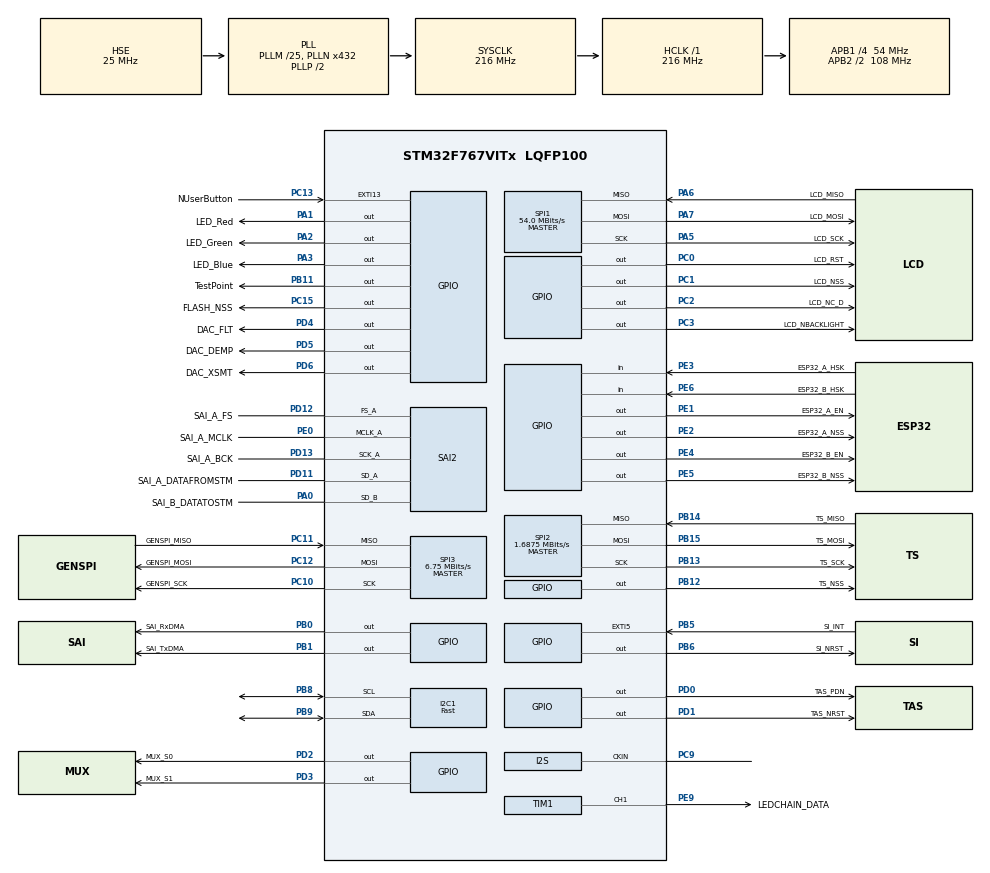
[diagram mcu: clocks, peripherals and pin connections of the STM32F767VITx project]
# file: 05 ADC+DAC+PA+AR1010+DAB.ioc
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CORTEX_M7.CPU_DCache=Enabled
CORTEX_M7.CPU_ICache=Enabled
Dma.I2C1_RX.1.Direction=DMA_PERIPH_TO_MEMORY
Dma.I2C1_RX.1.FIFOMode=DMA_FIFOMODE_DISABLE
Dma.I2C1_RX.1.Instance=DMA1_Stream5
Dma.I2C1_RX.1.MemDataAlignment=DMA_MDATAALIGN_BYTE
Dma.I2C1_RX.1.MemInc=DMA_MINC_ENABLE
Dma.I2C1_RX.1.Mode=DMA_NORMAL
Dma.I2C1_RX.1.PeriphDataAlignment=DMA_PDATAALIGN_BYTE
Dma.I2C1_RX.1.PeriphInc=DMA_PINC_DISABLE
Dma.I2C1_RX.1.Priority=DMA_PRIORITY_HIGH
Dma.I2C1_TX.0.Direction=DMA_MEMORY_TO_PERIPH
Dma.I2C1_TX.0.FIFOMode=DMA_FIFOMODE_DISABLE
Dma.I2C1_TX.0.Instance=DMA1_Stream6
Dma.I2C1_TX.0.MemDataAlignment=DMA_MDATAALIGN_BYTE
Dma.I2C1_TX.0.MemInc=DMA_MINC_ENABLE
Dma.I2C1_TX.0.Mode=DMA_NORMAL
Dma.I2C1_TX.0.PeriphDataAlignment=DMA_PDATAALIGN_BYTE
Dma.I2C1_TX.0.PeriphInc=DMA_PINC_DISABLE
Dma.I2C1_TX.0.Priority=DMA_PRIORITY_HIGH
Dma.Request0=I2C1_TX
Dma.Request1=I2C1_RX
Dma.Request2=SAI2_A
Dma.Request3=SAI2_B
Dma.Request4=SPI1_TX
Dma.Request5=TIM1_CH1
Dma.SAI2_A.2.Direction=DMA_MEMORY_TO_PERIPH
Dma.SAI2_A.2.FIFOMode=DMA_FIFOMODE_DISABLE
Dma.SAI2_A.2.Instance=DMA2_Stream2
Dma.SAI2_A.2.MemDataAlignment=DMA_MDATAALIGN_WORD
Dma.SAI2_A.2.MemInc=DMA_MINC_ENABLE
Dma.SAI2_A.2.Mode=DMA_CIRCULAR
Dma.SAI2_A.2.PeriphDataAlignment=DMA_PDATAALIGN_WORD
Dma.SAI2_A.2.PeriphInc=DMA_PINC_DISABLE
Dma.SAI2_A.2.Priority=DMA_PRIORITY_VERY_HIGH
Dma.SAI2_B.3.Direction=DMA_PERIPH_TO_MEMORY
Dma.SAI2_B.3.FIFOMode=DMA_FIFOMODE_DISABLE
Dma.SAI2_B.3.Instance=DMA2_Stream1
Dma.SAI2_B.3.MemDataAlignment=DMA_MDATAALIGN_WORD
Dma.SAI2_B.3.MemInc=DMA_MINC_ENABLE
Dma.SAI2_B.3.Mode=DMA_CIRCULAR
Dma.SAI2_B.3.PeriphDataAlignment=DMA_PDATAALIGN_WORD
Dma.SAI2_B.3.PeriphInc=DMA_PINC_DISABLE
Dma.SAI2_B.3.Priority=DMA_PRIORITY_VERY_HIGH
Dma.SPI1_TX.4.Direction=DMA_MEMORY_TO_PERIPH
Dma.SPI1_TX.4.FIFOMode=DMA_FIFOMODE_ENABLE
Dma.SPI1_TX.4.FIFOThreshold=DMA_FIFO_THRESHOLD_FULL
Dma.SPI1_TX.4.Instance=DMA2_Stream5
Dma.SPI1_TX.4.MemBurst=DMA_MBURST_SINGLE
Dma.SPI1_TX.4.MemDataAlignment=DMA_MDATAALIGN_BYTE
Dma.SPI1_TX.4.MemInc=DMA_MINC_ENABLE
Dma.SPI1_TX.4.Mode=DMA_NORMAL
Dma.SPI1_TX.4.PeriphBurst=DMA_PBURST_SINGLE
Dma.SPI1_TX.4.PeriphDataAlignment=DMA_PDATAALIGN_BYTE
Dma.SPI1_TX.4.PeriphInc=DMA_PINC_DISABLE
Dma.SPI1_TX.4.Priority=DMA_PRIORITY_MEDIUM
Dma.TIM1_CH1.5.Direction=DMA_MEMORY_TO_PERIPH
Dma.TIM1_CH1.5.FIFOMode=DMA_FIFOMODE_ENABLE
Dma.TIM1_CH1.5.FIFOThreshold=DMA_FIFO_THRESHOLD_FULL
Dma.TIM1_CH1.5.Instance=DMA2_Stream3
Dma.TIM1_CH1.5.MemBurst=DMA_MBURST_SINGLE
Dma.TIM1_CH1.5.MemDataAlignment=DMA_MDATAALIGN_HALFWORD
Dma.TIM1_CH1.5.MemInc=DMA_MINC_ENABLE
Dma.TIM1_CH1.5.Mode=DMA_NORMAL
Dma.TIM1_CH1.5.PeriphBurst=DMA_PBURST_SINGLE
Dma.TIM1_CH1.5.PeriphDataAlignment=DMA_PDATAALIGN_HALFWORD
Dma.TIM1_CH1.5.PeriphInc=DMA_PINC_DISABLE
Dma.TIM1_CH1.5.Priority=DMA_PRIORITY_MEDIUM
I2C1.I2C_Speed_Mode=I2C_Fast
I2C1.Timing=0x6000030D
Mcu.Family=STM32F7
Mcu.Name=STM32F767VITx
Mcu.Package=LQFP100
NVIC.DMA1_Stream5_IRQn=true\:0\:0\:false\:false\:true\:false
NVIC.DMA1_Stream6_IRQn=true\:0\:0\:false\:false\:true\:false
NVIC.DMA2_Stream1_IRQn=true\:0\:0\:false\:false\:true\:false
NVIC.DMA2_Stream2_IRQn=true\:0\:0\:false\:false\:true\:false
NVIC.DMA2_Stream3_IRQn=true\:0\:0\:false\:false\:true\:false
NVIC.DMA2_Stream5_IRQn=true\:0\:0\:false\:false\:true\:false
NVIC.EXTI15_10_IRQn=true\:0\:0\:false\:false\:true\:true
NVIC.EXTI9_5_IRQn=true\:0\:0\:false\:false\:true\:true
NVIC.I2C1_ER_IRQn=true\:0\:0\:false\:false\:true\:true
NVIC.I2C1_EV_IRQn=true\:0\:0\:false\:false\:true\:true
NVIC.PriorityGroup=NVIC_PRIORITYGROUP_4
PA0/WKUP.GPIO_Label=SAI_B_DATATOSTM
PA0/WKUP.Mode=SAI_B_SyncSlave
PA0/WKUP.Signal=SAI2_SD_B
PA1.GPIO_Label=LED_Red
PA1.Signal=GPIO_Output
PA13.GPIO_Label=SWDIO
PA13.Mode=Serial_Wire
PA13.Signal=SYS_JTMS-SWDIO
PA14.GPIO_Label=SWCLK
PA14.Mode=Serial_Wire
PA14.Signal=SYS_JTCK-SWCLK
PA2.GPIO_Label=LED_Green
PA2.Signal=GPIO_Output
PA3.GPIO_Label=LED_Blue
PA3.Signal=GPIO_Output
PA5.GPIO_Label=LCD_SCK
PA5.Mode=Full_Duplex_Master
PA5.Signal=SPI1_SCK
PA6.GPIO_Label=LCD_MISO
PA6.Mode=Full_Duplex_Master
PA6.Signal=SPI1_MISO
PA7.GPIO_Label=LCD_MOSI
PA7.Mode=Full_Duplex_Master
PA7.Signal=SPI1_MOSI
PB0.GPIO_Label=SAI_RxDMA
PB0.GPIO_Speed=GPIO_SPEED_FREQ_HIGH
PB0.Signal=GPIO_Output
PB1.GPIO_Label=SAI_TxDMA
PB1.GPIO_Speed=GPIO_SPEED_FREQ_HIGH
PB1.Signal=GPIO_Output
PB11.GPIO_Label=TestPoint
PB11.GPIO_Speed=GPIO_SPEED_FREQ_HIGH
PB11.Signal=GPIO_Output
PB12.GPIO_Label=TS_NSS
PB12.Signal=GPIO_Output
PB13.GPIO_Label=TS_SCK
PB13.Mode=Full_Duplex_Master
PB13.Signal=SPI2_SCK
PB14.GPIO_Label=TS_MISO
PB14.Mode=Full_Duplex_Master
PB14.Signal=SPI2_MISO
PB15.GPIO_Label=TS_MOSI
PB15.Mode=Full_Duplex_Master
PB15.Signal=SPI2_MOSI
PB5.GPIO_Label=SI_INT
PB5.GPIO_ModeDefaultEXTI=GPIO_MODE_IT_FALLING
PB5.Signal=GPXTI5
PB6.GPIO_Label=SI_NRST
PB6.Signal=GPIO_Output
PB8.Mode=I2C
PB8.Signal=I2C1_SCL
PB9.Mode=I2C
PB9.Signal=I2C1_SDA
PC0.GPIO_Label=LCD_RST
PC0.Signal=GPIO_Output
PC1.GPIO_Label=LCD_NSS
PC1.Signal=GPIO_Output
PC10.GPIO_Label=GENSPI_SCK
PC10.Mode=Full_Duplex_Master
PC10.Signal=SPI3_SCK
PC11.GPIO_Label=GENSPI_MISO
PC11.Mode=Full_Duplex_Master
PC11.Signal=SPI3_MISO
PC12.GPIO_Label=GENSPI_MOSI
PC12.Mode=Full_Duplex_Master
PC12.Signal=SPI3_MOSI
PC13.GPIO_Label=NUserButton
PC13.GPIO_ModeDefaultEXTI=GPIO_MODE_IT_FALLING
PC13.GPIO_PuPd=GPIO_PULLUP
PC13.Signal=GPXTI13
PC15/OSC32_OUT.GPIO_Label=FLASH_NSS
PC15/OSC32_OUT.PinState=GPIO_PIN_SET
PC15/OSC32_OUT.Signal=GPIO_Output
PC2.GPIO_Label=LCD_NC_D
PC2.Signal=GPIO_Output
PC3.GPIO_Label=LCD_NBACKLIGHT
PC3.Signal=GPIO_Output
PC9.Mode=Audio_ClockIn
PC9.Signal=I2S_CKIN
PD0.GPIO_Label=TAS_PDN
PD0.Signal=GPIO_Output
PD1.GPIO_Label=TAS_NRST
PD1.Signal=GPIO_Output
PD11.GPIO_Label=SAI_A_DATAFROMSTM
PD11.Mode=SAI_A_MasterWithClock
PD11.Signal=SAI2_SD_A
PD12.GPIO_Label=SAI_A_FS
PD12.Mode=SAI_A_MasterWithClock
PD12.Signal=SAI2_FS_A
PD13.GPIO_Label=SAI_A_BCK
PD13.Mode=SAI_A_MasterWithClock
PD13.Signal=SAI2_SCK_A
PD2.GPIO_Label=MUX_S0
PD2.Signal=GPIO_Output
PD3.GPIO_Label=MUX_S1
PD3.Signal=GPIO_Output
PD4.GPIO_Label=DAC_FLT
PD4.Signal=GPIO_Output
PD5.GPIO_Label=DAC_DEMP
PD5.Signal=GPIO_Output
PD6.GPIO_Label=DAC_XSMT
PD6.Signal=GPIO_Output
PE0.GPIO_Label=SAI_A_MCLK
PE0.Mode=SAI_A_MasterWithClock
PE0.Signal=SAI2_MCLK_A
PE1.GPIO_Label=ESP32_A_EN
PE1.GPIO_Speed=GPIO_SPEED_FREQ_LOW
PE1.PinState=GPIO_PIN_RESET
PE1.Signal=GPIO_Output
PE2.GPIO_Label=ESP32_A_NSS
PE2.GPIO_Speed=GPIO_SPEED_FREQ_HIGH
PE2.PinState=GPIO_PIN_SET
PE2.Signal=GPIO_Output
PE3.GPIO_Label=ESP32_A_HSK
PE3.Signal=GPIO_Input
PE4.GPIO_Label=ESP32_B_EN
PE4.GPIO_Speed=GPIO_SPEED_FREQ_LOW
PE4.PinState=GPIO_PIN_RESET
PE4.Signal=GPIO_Output
PE5.GPIO_Label=ESP32_B_NSS
PE5.GPIO_Speed=GPIO_SPEED_FREQ_HIGH
PE5.PinState=GPIO_PIN_SET
PE5.Signal=GPIO_Output
PE6.GPIO_Label=ESP32_B_HSK
PE6.Signal=GPIO_Input
PE9.GPIO_Label=LEDCHAIN_DATA
PE9.GPIO_Speed=GPIO_SPEED_FREQ_HIGH
PE9.Signal=S_TIM1_CH1
PH0/OSC_IN.GPIO_Label=MCU_CLK_IN
PH0/OSC_IN.Mode=HSE-External-Clock-Source
PH0/OSC_IN.Signal=RCC_OSC_IN
PH1/OSC_OUT.Mode=HSE-External-Clock-Source
PH1/OSC_OUT.Signal=RCC_OSC_OUT
ProjectManager.HeapSize=0x2000
ProjectManager.StackSize=0x4000
ProjectManager.TargetToolchain=TrueSTUDIO
RCC.AHBFreq_Value=216000000
RCC.APB1CLKDivider=RCC_HCLK_DIV4
RCC.APB1Freq_Value=54000000
RCC.APB1TimFreq_Value=108000000
RCC.APB2CLKDivider=RCC_HCLK_DIV2
RCC.APB2Freq_Value=108000000
RCC.APB2TimFreq_Value=216000000
RCC.CortexFreq_Value=216000000
RCC.EXTERNAL_CLOCK_VALUE=24576000
RCC.HCLKFreq_Value=216000000
RCC.HSE_VALUE=25000000
RCC.HSI_VALUE=16000000
RCC.LSE_VALUE=32768
RCC.PLLI2SN=256
RCC.PLLM=25
RCC.PLLN=432
RCC.PLLSAIQ=8
RCC.PLLSourceVirtual=RCC_PLLSOURCE_HSE
RCC.SAI2CLockSelection=RCC_SAI2CLKSOURCE_PIN
RCC.SYSCLKFreq_VALUE=216000000
RCC.SYSCLKSource=RCC_SYSCLKSOURCE_PLLCLK
RCC.USBFreq_Value=216000000
RCC.VCOOutputFreq_Value=432000000
SAI2.AudioFrequency-SAI_A_MasterWithClock=SAI_AUDIO_FREQUENCY_48K
SAI2.BasicDataSize-SAI_A_MasterWithClock=SAI_PROTOCOL_DATASIZE_24BIT
SAI2.BasicDataSize-SAI_B_SyncSlave=SAI_PROTOCOL_DATASIZE_24BIT
SAI2.ErrorAudioFreq-SAI_A_MasterWithClock=0.0 %
SAI2.InitProtocol-SAI_A_MasterWithClock=Enable
SAI2.InitProtocol-SAI_B_SyncSlave=Enable
SAI2.Instance-SAI_A_MasterWithClock=SAI$Index_Block_A
SAI2.Instance-SAI_B_SyncSlave=SAI$Index_Block_B
SAI2.MClockEnable-SAI_A_MasterWithClock=SAI_MASTERCLOCK_ENABLE
SAI2.OutputDrive-SAI_A_MasterWithClock=SAI_OUTPUTDRIVE_DISABLE
SAI2.RealAudioFreq-SAI_A_MasterWithClock=48.0 KHz
SAI2.Synchro-SAI_A_MasterWithClock=SAI_ASYNCHRONOUS
SAI2.Synchro-SAI_B_SyncSlave=SAI_SYNCHRONOUS
SAI2.SynchroExt-SAI_A_MasterWithClock=SAI_SYNCEXT_DISABLE
SAI2.VirtualMode-SAI_A_MasterWithClock=VM_MASTER
SAI2.VirtualMode-SAI_B_SyncSlave=VM_SLAVE
SAI2.VirtualProtocol-SAI_A_BASIC=VM_BASIC_PROTOCOL
SAI2.VirtualProtocol-SAI_B_BASIC=VM_BASIC_PROTOCOL
SH.S_TIM1_CH1.0=TIM1_CH1,PWM Generation1 CH1
SPI1.BaudRatePrescaler=SPI_BAUDRATEPRESCALER_2
SPI1.CalculateBaudRate=54.0 MBits/s
SPI1.DataSize=SPI_DATASIZE_8BIT
SPI1.Direction=SPI_DIRECTION_2LINES
SPI1.Mode=SPI_MODE_MASTER
SPI1.VirtualType=VM_MASTER
SPI2.BaudRatePrescaler=SPI_BAUDRATEPRESCALER_32
SPI2.CalculateBaudRate=1.6875 MBits/s
SPI2.DataSize=SPI_DATASIZE_8BIT
SPI2.Direction=SPI_DIRECTION_2LINES
SPI2.Mode=SPI_MODE_MASTER
SPI2.VirtualType=VM_MASTER
SPI3.BaudRatePrescaler=SPI_BAUDRATEPRESCALER_8
SPI3.CalculateBaudRate=6.75 MBits/s
SPI3.DataSize=SPI_DATASIZE_8BIT
SPI3.Direction=SPI_DIRECTION_2LINES
SPI3.Mode=SPI_MODE_MASTER
SPI3.VirtualType=VM_MASTER
TIM1.AutoReloadPreload=TIM_AUTORELOAD_PRELOAD_ENABLE
TIM1.Channel-PWM\ Generation1\ CH1=TIM_CHANNEL_1
TIM1.OCIdleState_1=TIM_OCIDLESTATE_SET
TIM1.OCPolarity_1=TIM_OCPOLARITY_HIGH
TIM1.Period=269
TIM1.Pulse-PWM\ Generation1\ CH1=130
VP_SAI2_VP_$IpInstance_SAIA_SAI_BASIC.Mode=SAI_A_BASIC
VP_SAI2_VP_$IpInstance_SAIB_SAI_BASIC.Mode=SAI_B_BASIC
board=04 ADC+DAC+PA+AR1010+DAB

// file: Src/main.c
/* USER CODE BEGIN Header */
/**
  ******************************************************************************
  * @file           : main.c
  * @brief          : Main program body
  ******************************************************************************
  ** This notice applies to any and all portions of this file
  * that are not between comment pairs USER CODE BEGIN and
  * USER CODE END. Other portions of this file, whether
  * inserted by the user or by software development tools
  * are owned by their respective copyright owners.
  *
  * COPYRIGHT(c) 2018 STMicroelectronics
  *
  * Redistribution and use in source and binary forms, with or without modification,
  * are permitted provided that the following conditions are met:
  *   1. Redistributions of source code must retain the above copyright notice,
  *      this list of conditions and the following disclaimer.
  *   2. Redistributions in binary form must reproduce the above copyright notice,
  *      this list of conditions and the following disclaimer in the documentation
  *      and/or other materials provided with the distribution.
  *   3. Neither the name of STMicroelectronics nor the names of its contributors
  *      may be used to endorse or promote products derived from this software
  *      without specific prior written permission.
  *
  * THIS SOFTWARE IS PROVIDED BY THE COPYRIGHT HOLDERS AND CONTRIBUTORS "AS IS"
  * AND ANY EXPRESS OR IMPLIED WARRANTIES, INCLUDING, BUT NOT LIMITED TO, THE
  * IMPLIED WARRANTIES OF MERCHANTABILITY AND FITNESS FOR A PARTICULAR PURPOSE ARE
  * DISCLAIMED. IN NO EVENT SHALL THE COPYRIGHT HOLDER OR CONTRIBUTORS BE LIABLE
  * FOR ANY DIRECT, INDIRECT, INCIDENTAL, SPECIAL, EXEMPLARY, OR CONSEQUENTIAL
  * DAMAGES (INCLUDING, BUT NOT LIMITED TO, PROCUREMENT OF SUBSTITUTE GOODS OR
  * SERVICES; LOSS OF USE, DATA, OR PROFITS; OR BUSINESS INTERRUPTION) HOWEVER
  * CAUSED AND ON ANY THEORY OF LIABILITY, WHETHER IN CONTRACT, STRICT LIABILITY,
  * OR TORT (INCLUDING NEGLIGENCE OR OTHERWISE) ARISING IN ANY WAY OUT OF THE USE
  * OF THIS SOFTWARE, EVEN IF ADVISED OF THE POSSIBILITY OF SUCH DAMAGE.
  *
  ******************************************************************************
  */
/* USER CODE END Header */

#include "main.h"
#include "dma.h"
#include "i2c.h"
#include "sai.h"
#include "spi.h"
#include "tim.h"
#include "gpio.h"

/* USER CODE BEGIN Includes */

#include "JSB_ILI9341.h"
#include "JSB_XPT2046.h"
#include "PJB_STM32_ESP32_FM_DAB_ADC_DAC_PA.h"
#include "go.h"

/* USER CODE END Includes */

/* USER CODE BEGIN PV */
/* Private variables ---------------------------------------------------------*/

/* USER CODE END PV */

void SystemClock_Config(void);
/* USER CODE BEGIN PFP */
/* Private function prototypes -----------------------------------------------*/

/* USER CODE END PFP */

/* USER CODE BEGIN 0 */

#define DWT_CTRL        (*(volatile uint32_t *)0xE0001000)
#define CYCCNTENA       (1<<0)
#define DWT_CYCCNT      ((volatile uint32_t *)0xE0001004)

/* USER CODE END 0 */

int main(void)
{

  /* Enable I-Cache---------------------------------------------------------*/
  SCB_EnableICache();

  /* Enable D-Cache---------------------------------------------------------*/
  SCB_EnableDCache();

  /* MCU Configuration--------------------------------------------------------*/

  /* Reset of all peripherals, Initializes the Flash interface and the Systick. */
  HAL_Init();

  /* USER CODE BEGIN Init */

  // Enable CPU_CYCLES CPU cycle counter:
  CoreDebug->DEMCR |= CoreDebug_DEMCR_TRCENA_Msk; // Enable DWT.
  DWT->LAR = 0xC5ACCE55; // Unlock register access.
  *DWT_CYCCNT = 0;
  DWT_CTRL |= CYCCNTENA; // Enable CPU_CYCLES.

  /* USER CODE END Init */

  /* Configure the system clock */
  SystemClock_Config();

  /* Initialize all configured peripherals */
  MX_GPIO_Init();
  MX_DMA_Init();
  MX_I2C1_Init();
  MX_SAI2_Init();
  MX_SPI1_Init();
  MX_SPI2_Init();
  MX_SPI3_Init();
  MX_TIM1_Init();
  /* USER CODE BEGIN 2 */

  ILI9341_Initialize(&hspi1, 0);
  HAL_GPIO_WritePin(LCD_NBACKLIGHT_GPIO_Port, LCD_NBACKLIGHT_Pin, GPIO_PIN_RESET); // Backlight on.
  XPT2046_Initialize(&hspi2);

  Go();

  /* USER CODE END 2 */

  /* Infinite loop */
  while (1)
  {

  }
}

void SystemClock_Config(void)
{
  RCC_OscInitTypeDef RCC_OscInitStruct = {0};
  RCC_ClkInitTypeDef RCC_ClkInitStruct = {0};
  RCC_PeriphCLKInitTypeDef PeriphClkInitStruct = {0};

  /**Configure the main internal regulator output voltage
  */
  __HAL_RCC_PWR_CLK_ENABLE();
  __HAL_PWR_VOLTAGESCALING_CONFIG(PWR_REGULATOR_VOLTAGE_SCALE1);
  /**Initializes the CPU, AHB and APB busses clocks
  */
  RCC_OscInitStruct.OscillatorType = RCC_OSCILLATORTYPE_HSE;
  RCC_OscInitStruct.HSEState = RCC_HSE_BYPASS;
  RCC_OscInitStruct.PLL.PLLState = RCC_PLL_ON;
  RCC_OscInitStruct.PLL.PLLSource = RCC_PLLSOURCE_HSE;
  RCC_OscInitStruct.PLL.PLLM = 25;
  RCC_OscInitStruct.PLL.PLLN = 432;
  RCC_OscInitStruct.PLL.PLLP = RCC_PLLP_DIV2;
  RCC_OscInitStruct.PLL.PLLQ = 2;
  if (HAL_RCC_OscConfig(&RCC_OscInitStruct) != HAL_OK)
  {
    Error_Handler();
  }
  /**Activate the Over-Drive mode
  */
  if (HAL_PWREx_EnableOverDrive() != HAL_OK)
  {
    Error_Handler();
  }
  /**Initializes the CPU, AHB and APB busses clocks
  */
  RCC_ClkInitStruct.ClockType = RCC_CLOCKTYPE_HCLK|RCC_CLOCKTYPE_SYSCLK
                              |RCC_CLOCKTYPE_PCLK1|RCC_CLOCKTYPE_PCLK2;
  RCC_ClkInitStruct.SYSCLKSource = RCC_SYSCLKSOURCE_PLLCLK;
  RCC_ClkInitStruct.AHBCLKDivider = RCC_SYSCLK_DIV1;
  RCC_ClkInitStruct.APB1CLKDivider = RCC_HCLK_DIV4;
  RCC_ClkInitStruct.APB2CLKDivider = RCC_HCLK_DIV2;

  if (HAL_RCC_ClockConfig(&RCC_ClkInitStruct, FLASH_LATENCY_7) != HAL_OK)
  {
    Error_Handler();
  }
  PeriphClkInitStruct.PeriphClockSelection = RCC_PERIPHCLK_SAI2|RCC_PERIPHCLK_I2C1;
  PeriphClkInitStruct.Sai2ClockSelection = RCC_SAI2CLKSOURCE_PIN;
  PeriphClkInitStruct.I2c1ClockSelection = RCC_I2C1CLKSOURCE_PCLK1;
  if (HAL_RCCEx_PeriphCLKConfig(&PeriphClkInitStruct) != HAL_OK)
  {
    Error_Handler();
  }
}

void Error_Handler(void)
{
  /* USER CODE BEGIN Error_Handler_Debug */
  /* User can add his own implementation to report the HAL error return state */
  while(1)
  {
    ToggleLED(LED_Red);
    HAL_Delay(50);
    ToggleLED(LED_Red);
    HAL_Delay(50);
  }
  /* USER CODE END Error_Handler_Debug */
}

/************************ (C) COPYRIGHT STMicroelectronics *****END OF FILE****/
